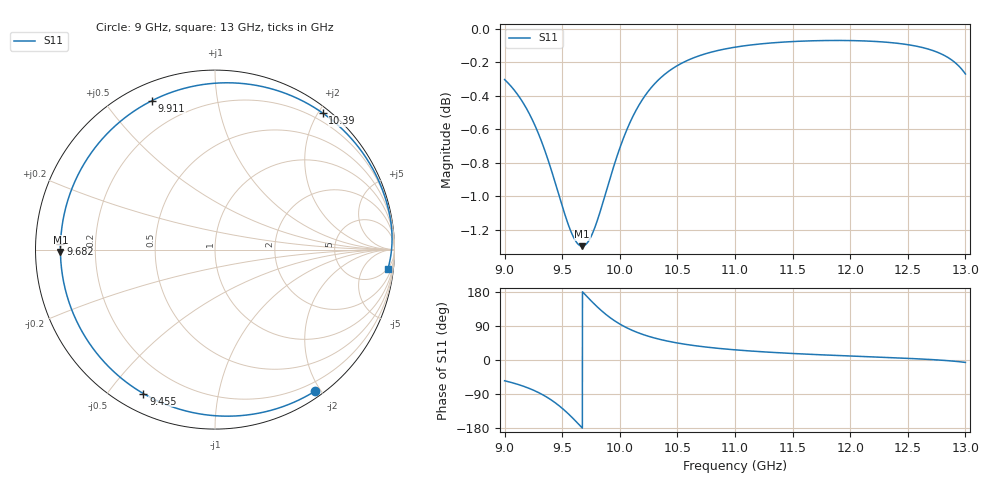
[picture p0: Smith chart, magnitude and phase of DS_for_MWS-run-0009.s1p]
! TOUCHSTONE file generated by CST DESIGN STUDIO
! Date and time: Tue Feb  4 17:05:29 2025
! Project name: C:\Work\MatlabApps\UnitCellOptimizationMatlab\CST\unitcell.cst
! Tree item: Tasks\Sweep1\SPara1\S-Parameters
! Header version: 2024
! Port assignment regex: !\s*Touchstone port\s*([0-9]+)\s*=\s*(CST MWS port|CST DES external port|CST DES block port)\s*(.+)\s* \(\"(.*)\"\)(\s*mode\s*([0-9]+))?.*
! Touchstone port assignment:
! Touchstone port 1 = CST DES external port 1 ("")
# GHz S MA R 50
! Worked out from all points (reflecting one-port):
!   4001 points, 9 GHz to 13 GHz, reference 50 ohm
!   lowest |S11| = -1.3 dB at 9.673 GHz (marker M1), VSWR 13.41, Z = 3.73 - j0.393 ohm
!   phase of S11 starts at -55 deg and turns -312 deg over the sweep
!   S11 on the Smith chart (normalised r, x): 9 GHz: 0.08, -1.93; 9.455 GHz: 0.08, -0.62; 9.682 GHz: 0.07, +0.02; 9.911 GHz: 0.07, +0.66; 10.39 GHz: 0.08, +2.06; 13 GHz: 5, -17
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9  0.9657 -54.8
9.118  0.9553 -64.6
9.233  0.9406 -77.4
9.357  0.9181 -96.3
9.455  0.8959 -116.4
9.5  0.8854 -127.5
9.547  0.8752 -140.2
9.595  0.867 -154.4
9.635  0.8627 -166.9
9.673  0.8612 -179.1
9.682  0.8613 178.0
9.74  0.8656 159.5
9.804  0.8764 140.3
9.857  0.8883 125.9
9.911  0.9013 112.9
10  0.9213 94.9
10.089  0.9377 80.8
10.179  0.9505 69.6
10.277  0.9608 60.1
10.386  0.969 51.7
10.5  0.9751 44.9
10.719  0.9824 35.2
11  0.9874 26.8
11.5  0.9913 17.2
12  0.992 10.5
12.5  0.9892 4.3
12.792  0.9828 -0.5
13  0.9694 -6.4
